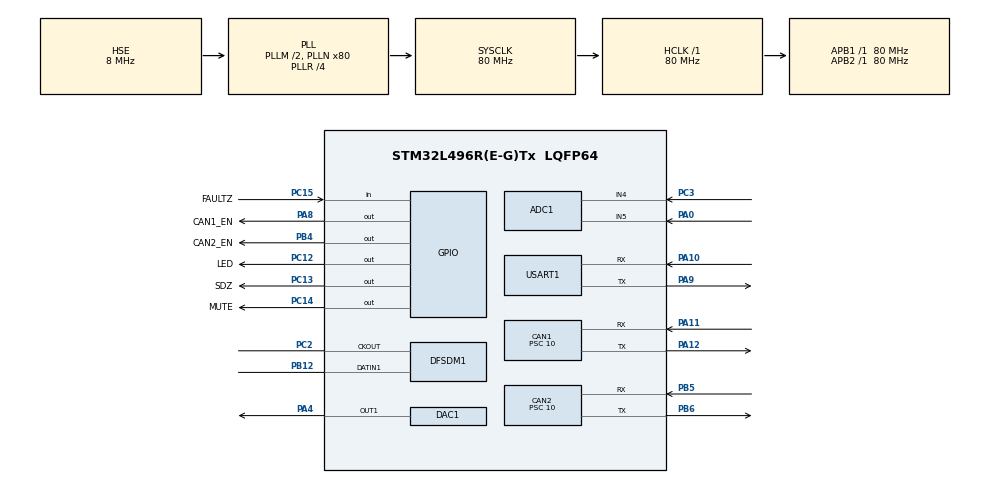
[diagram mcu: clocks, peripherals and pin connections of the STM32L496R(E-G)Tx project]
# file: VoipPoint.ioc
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ADC1.Channel-0\#ChannelRegularConversion=ADC_CHANNEL_4
ADC1.Channel-1\#ChannelRegularConversion=ADC_CHANNEL_5
ADC1.ContinuousConvMode=ENABLE
ADC1.DMAContinuousRequests=ENABLE
ADC1.ExternalTrigConv=ADC_SOFTWARE_START
ADC1.NbrOfConversion=2
ADC1.NbrOfConversionFlag=1
ADC1.OffsetNumber-0\#ChannelRegularConversion=ADC_OFFSET_NONE
ADC1.OffsetNumber-1\#ChannelRegularConversion=ADC_OFFSET_NONE
ADC1.Rank-0\#ChannelRegularConversion=1
ADC1.Rank-1\#ChannelRegularConversion=2
ADC1.SamplingTime-0\#ChannelRegularConversion=ADC_SAMPLETIME_47CYCLES_5
ADC1.SamplingTime-1\#ChannelRegularConversion=ADC_SAMPLETIME_47CYCLES_5
ADC1.master=1
CAN1.BS1=CAN_BS1_13TQ
CAN1.BS2=CAN_BS2_2TQ
CAN1.CalculateTimeQuantum=125.0
CAN1.Prescaler=10
CAN1.TXFP=ENABLE
CAN2.BS1=CAN_BS1_13TQ
CAN2.BS2=CAN_BS2_2TQ
CAN2.CalculateTimeQuantum=125.0
CAN2.Prescaler=10
CAN2.TXFP=ENABLE
DAC1.DAC_Trigger-DAC_OUT1=DAC_TRIGGER_T6_TRGO
DFSDM1.Divider=12
DFSDM1.DmaMode_reg_FIL0=ENABLE
DFSDM1.FastMode_reg_FIL0=ENABLE
DFSDM1.FilterOrder_CH0=DFSDM_CHANNEL_SINC3_ORDER
DFSDM1.Filter_regChannel_FIL0=DFSDM_CHANNEL_0
DFSDM1.Fosr_FIL0=64
DFSDM1.Iosr_FIL0=4
DFSDM1.RightBitShift_CH0=0x02
DFSDM1.Selection=DFSDM_CHANNEL_OUTPUT_CLOCK_AUDIO
DFSDM1.SincOrder_FIL0=DFSDM_FILTER_SINC3_ORDER
Dma.ADC1.3.Direction=DMA_PERIPH_TO_MEMORY
Dma.ADC1.3.Instance=DMA1_Channel1
Dma.ADC1.3.MemDataAlignment=DMA_MDATAALIGN_HALFWORD
Dma.ADC1.3.MemInc=DMA_MINC_ENABLE
Dma.ADC1.3.Mode=DMA_CIRCULAR
Dma.ADC1.3.PeriphDataAlignment=DMA_PDATAALIGN_HALFWORD
Dma.ADC1.3.PeriphInc=DMA_PINC_DISABLE
Dma.ADC1.3.Priority=DMA_PRIORITY_LOW
Dma.DAC_CH1.0.Direction=DMA_MEMORY_TO_PERIPH
Dma.DAC_CH1.0.Instance=DMA1_Channel3
Dma.DAC_CH1.0.MemDataAlignment=DMA_MDATAALIGN_HALFWORD
Dma.DAC_CH1.0.MemInc=DMA_MINC_ENABLE
Dma.DAC_CH1.0.Mode=DMA_CIRCULAR
Dma.DAC_CH1.0.PeriphDataAlignment=DMA_PDATAALIGN_HALFWORD
Dma.DAC_CH1.0.PeriphInc=DMA_PINC_DISABLE
Dma.DAC_CH1.0.Priority=DMA_PRIORITY_HIGH
Dma.DFSDM1_FLT0.1.Direction=DMA_PERIPH_TO_MEMORY
Dma.DFSDM1_FLT0.1.Instance=DMA1_Channel4
Dma.DFSDM1_FLT0.1.MemDataAlignment=DMA_MDATAALIGN_WORD
Dma.DFSDM1_FLT0.1.MemInc=DMA_MINC_ENABLE
Dma.DFSDM1_FLT0.1.Mode=DMA_CIRCULAR
Dma.DFSDM1_FLT0.1.PeriphDataAlignment=DMA_PDATAALIGN_WORD
Dma.DFSDM1_FLT0.1.PeriphInc=DMA_PINC_DISABLE
Dma.DFSDM1_FLT0.1.Priority=DMA_PRIORITY_HIGH
Dma.Request0=DAC_CH1
Dma.Request1=DFSDM1_FLT0
Dma.Request2=USART1_TX
Dma.Request3=ADC1
Dma.USART1_TX.2.Direction=DMA_MEMORY_TO_PERIPH
Dma.USART1_TX.2.Instance=DMA2_Channel6
Dma.USART1_TX.2.MemDataAlignment=DMA_MDATAALIGN_BYTE
Dma.USART1_TX.2.MemInc=DMA_MINC_ENABLE
Dma.USART1_TX.2.Mode=DMA_NORMAL
Dma.USART1_TX.2.PeriphDataAlignment=DMA_PDATAALIGN_BYTE
Dma.USART1_TX.2.PeriphInc=DMA_PINC_DISABLE
Dma.USART1_TX.2.Priority=DMA_PRIORITY_LOW
Mcu.Family=STM32L4
Mcu.Name=STM32L496R(E-G)Tx
Mcu.Package=LQFP64
NVIC.CAN1_RX0_IRQn=true\:0\:0\:false\:false\:true\:true\:true
NVIC.CAN2_RX0_IRQn=true\:0\:0\:false\:false\:true\:true\:true
NVIC.DMA1_Channel1_IRQn=true\:0\:0\:false\:false\:true\:false\:true
NVIC.DMA1_Channel3_IRQn=true\:0\:0\:false\:false\:true\:false\:true
NVIC.DMA1_Channel4_IRQn=true\:0\:0\:false\:false\:true\:false\:true
NVIC.DMA2_Channel6_IRQn=true\:0\:0\:false\:false\:true\:false\:true
NVIC.PriorityGroup=NVIC_PRIORITYGROUP_4
NVIC.TIM6_DAC_IRQn=true\:0\:0\:false\:false\:true\:true\:true
NVIC.USART1_IRQn=true\:0\:0\:false\:false\:true\:true\:true
PA0.Signal=ADCx_IN5
PA10.Mode=Asynchronous
PA10.Signal=USART1_RX
PA11.Mode=Master
PA11.Signal=CAN1_RX
PA12.Mode=Master
PA12.Signal=CAN1_TX
PA4.Signal=COMP_DAC11_group
PA8.GPIO_Label=CAN1_EN
PA8.Signal=GPIO_Output
PA9.Mode=Asynchronous
PA9.Signal=USART1_TX
PB12.GPIO_Speed=GPIO_SPEED_FREQ_VERY_HIGH
PB12.Signal=S_DATAIN1DFSDM1
PB4\ (NJTRST).GPIO_Label=CAN2_EN
PB4\ (NJTRST).Signal=GPIO_Output
PB5.Mode=Slave
PB5.Signal=CAN2_RX
PB6.Mode=Slave
PB6.Signal=CAN2_TX
PC12.GPIO_Label=LED
PC12.Signal=GPIO_Output
PC13.GPIO_Label=SDZ
PC13.PinState=GPIO_PIN_SET
PC13.Signal=GPIO_Output
PC14-OSC32_IN\ (PC14).GPIO_Label=MUTE
PC14-OSC32_IN\ (PC14).Signal=GPIO_Output
PC15-OSC32_OUT\ (PC15).GPIO_Label=FAULTZ
PC15-OSC32_OUT\ (PC15).Signal=GPIO_Input
PC2.GPIO_Speed=GPIO_SPEED_FREQ_VERY_HIGH
PC2.Signal=S_CKOUTDFSDM1
PC3.Signal=ADCx_IN4
PH0-OSC_IN\ (PH0).Mode=HSE-External-Oscillator
PH0-OSC_IN\ (PH0).Signal=RCC_OSC_IN
PH1-OSC_OUT\ (PH1).Mode=HSE-External-Oscillator
PH1-OSC_OUT\ (PH1).Signal=RCC_OSC_OUT
ProjectManager.HeapSize=0x12000
ProjectManager.StackSize=0x4000
ProjectManager.TargetToolchain=TrueSTUDIO
RCC.ADCFreq_Value=21500000
RCC.AHBFreq_Value=80000000
RCC.APB1Freq_Value=80000000
RCC.APB1TimFreq_Value=80000000
RCC.APB2Freq_Value=80000000
RCC.APB2TimFreq_Value=80000000
RCC.CK48CLockSelection=RCC_USBCLKSOURCE_MSI
RCC.CortexFreq_Value=80000000
RCC.HCLKFreq_Value=80000000
RCC.HSE_VALUE=8000000
RCC.HSI48_VALUE=48000000
RCC.HSI_VALUE=16000000
RCC.LSE_VALUE=32768
RCC.MSI_VALUE=4000000
RCC.PLLM=2
RCC.PLLN=80
RCC.PLLP=RCC_PLLP_DIV7
RCC.PLLR=RCC_PLLR_DIV4
RCC.PLLSAI1N=43
RCC.PLLSAI1P=RCC_PLLP_DIV7
RCC.PLLSAI1R=RCC_PLLR_DIV8
RCC.PLLSourceVirtual=RCC_PLLSOURCE_HSE
RCC.SYSCLKFreq_VALUE=80000000
RCC.SYSCLKSource=RCC_SYSCLKSOURCE_PLLCLK
RCC.USBFreq_Value=4000000
RCC.VCOOutputFreq_Value=320000000
SH.ADCx_IN4.0=ADC1_IN4,IN4-Single-Ended
SH.ADCx_IN5.0=ADC1_IN5,IN5-Single-Ended
SH.COMP_DAC11_group.0=DAC1_OUT1,DAC_OUT1
SH.S_CKOUTDFSDM1.0=DFSDM1_CKOUT,PDM_SPI_Input_from_ch01_and_Internal_Clock
SH.S_DATAIN1DFSDM1.0=DFSDM1_DATIN1,PDM_SPI_Input_from_ch01_and_Internal_Clock
TIM6.Period=10000
TIM6.TIM_MasterOutputTrigger=TIM_TRGO_UPDATE
USART1.VirtualMode-Asynchronous=VM_ASYNC
VP_IWDG_VS_IWDG.Mode=IWDG_Activate
VP_RNG_VS_RNG.Mode=RNG_Activate
VP_TIM6_VS_ClockSourceINT.Mode=Enable_Timer
board=custom

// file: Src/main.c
/* USER CODE BEGIN Header */
/**
  ******************************************************************************
  * @file           : main.c
  * @brief          : Main program body
  ******************************************************************************
  * @attention
  *
  * <h2><center>&copy; Copyright (c) 2019 STMicroelectronics.
  * All rights reserved.</center></h2>
  *
  * This software component is licensed by ST under BSD 3-Clause license,
  * the "License"; You may not use this file except in compliance with the
  * License. You may obtain a copy of the License at:
  *                        opensource.org/licenses/BSD-3-Clause
  *
  ******************************************************************************
  */
/* USER CODE END Header */

#include "main.h"
#include "adc.h"
#include "can.h"
#include "dac.h"
#include "dfsdm.h"
#include "dma.h"
#include "iwdg.h"
#include "rng.h"
#include "tim.h"
#include "usart.h"
#include "gpio.h"

/* USER CODE BEGIN Includes */

//#include "arm_math.h"
#include "wave_example.h"
#include "frame_stack.h"
#include "opus.h"
#include "can_tx_stack.h"
#include "uart.h"
#include <stdlib.h>
#include <arm_math.h>
#include "can_cmd.h"
#include "eeprom.h"
#include "eeprom2.h"
#include "flash_interface.h"
#include "din.h"

/* USER CODE END Includes */

/* USER CODE BEGIN PD */

#define	FRAME_SIZE	160		// размер одного пакета аудиоданных (в байтах будет 160*2)

// макрос ограничения величины снизу и сверху
#define SaturaLH(N, L, H) (((N)<(L))?(L):(((N)>(H))?(H):(N)))

#define FFT_SIZE 128// число точек для быстрого преобразования Фурье (должно быть степенью двойки)
// необходимо для анализа спектра сигнала, полученного с микрофона
// частота звукового сигнала 8 кГц, шаг в полученном спектре 8000/128 = 62.5 Гц
// arm_rfft_fast_init_f32 - инициализация
// arm_rfft_fast_f32 - собственно преобразование
// arm_cmplx_mag_f32 - вычисление амплитуд сигнала

/* USER CODE END PD */

/* USER CODE BEGIN PV */

// переменные для стирания страницы FLASH амяти
static FLASH_EraseInitTypeDef EraseInitStruct;
uint32_t PAGEError = 0;

// промежуточный буфер для получения данных из аудиостека
// в дальнейшем данные изменяются в соответствии с коэффициентом ослабления звука
static volatile int16_t tmp_frame[2][1024] __attribute__((aligned(4)));

// буфер данных, полученных от микрофона
volatile int32_t		RecBuf[2][FRAME_SIZE] __attribute__((aligned(4)));

// буфер данных, отправляемых на динамик
volatile uint16_t 	conv[2][FRAME_SIZE] __attribute__((aligned(4)));

// флаги приёма данных от микрофона по DMA
volatile uint32_t	DmaMicrophoneHalfBuffCplt  = 0;
volatile uint32_t    DmaMicrophoneBuffCplt      = 0;

// флаги отправки данных в DAC по DMA
volatile uint32_t	DmaDacHalfBuffCplt  = 0;
volatile uint32_t    DmaDacBuffCplt      = 0;

extern CAN_HandleTypeDef hcan1;

// переменные для работу с опусом
OpusDecoder *dec;
OpusEncoder *enc;
static int error = 0;

// буфер в который записывается результат кодирования звука опусом
char microphone_encoded_data[2][256] __attribute__((aligned(4)));

// результирующая длина закодированного массива
int8_t encoded_length = 0;

// буфер в который помещается результат декодирования пакетов опусом
int16_t	audio_stream[1024] __attribute__((aligned(4)));

#define OPUS_PACKET_MAX_LENGTH	100

// переменные для работы с кан интерфейсом
static CAN_TxHeaderTypeDef   TxHeader;
static uint32_t              TxMailbox1=0;
static uint32_t              TxMailbox2=0;
static uint8_t               TxData[8] __attribute__((aligned(4)));
static CAN_RxHeaderTypeDef   RxHeader;
static uint8_t               RxData[8] __attribute__((aligned(4)));

// буфера для сборки закодированного аудиопакета из кан пакетов
static uint8_t				 can_frame[OPUS_PACKET_MAX_LENGTH] __attribute__((aligned(4)));
static uint8_t 				 can_priority_frame[OPUS_PACKET_MAX_LENGTH] __attribute__((aligned(4)));

// заголовок текущего звукового закодированного кан пакета, захваченного для воспроизведения
static uint32_t				 can_caught_id = 0;

// номер группы/шлюза к которой принадлежит точка
uint8_t group_id = 0;

// таймер активности звукового выхода (сбрасывется при наличии пакетов которые необходимо воспроизвести)
// инкрементируется по прерыванию каждую миллисекунду
uint16_t packet_tmr = 0;

// длина собранного звукового кан пакета
// перенести в check_can_rx
uint8_t can_pckt_length = 0;

// флаг получения данных от микрофона
// 1 - получена первая половина буфера
// 2 - получена вторая половина буфера
unsigned char encoded_micr_ready_buf_num = 0;

// счётчик для отправки в динамик сигнала синуса из буфера sin_ex
// спользуется для проверки исправности системы динамик/микрофон
uint32_t sin_offset = 0;

// счётчик для отправки кодирования опусом и отправки в кан сеть сигнала вызова из буфера call_ex
uint32_t call_offset = 0;

// счётчик для отправки в динамик сигнала вызова из буфера call_ex
uint32_t call_offset2 = 0;

// стеки кан пакетов для отправки
tx_stack can1_tx_stack;
tx_stack can2_tx_stack;

// стеки кан пакетов для отправки с повышенным приоритетом
tx_stack can1_tx_stack_pr;
tx_stack can2_tx_stack_pr;

// кнопка для передачи звука в кан сеть
uint8_t button1 = 0;

// кнопка для отправки сигнала вызова в кан сеть
uint8_t button2 = 0;

// cостояние концевика (указывает что точка последняя в цепочке)
uint8_t limit_switch = 0;

// флаг внешнего вызова
uint8_t call_flag = 0;
uint16_t call_tmr = 0;

// группа переменных для проверки исправности микрофона и динамиков с помощью преобразования фурье

float32_t in_fft[FFT_SIZE] = {0};	// входные данные для преобразования
float32_t out_fft[FFT_SIZE] = {0};	// результат преобразования
arm_rfft_fast_instance_f32 S;

float32_t base_2_5_kHz_level;		// уровень фонового сигнала микрофона на 2.5 кГц
float32_t test_2_5_kHz_level;		// уровень сигнала микрофона на 2.5 кГц во время проверки динамиков

///////////////////////////////////////////////////////////////////////////////////////////////////
// ПРОВЕРКА СВЯЗКИ МИКРОФОН-ДИНАМИК

// вспомогательный таймер
volatile uint16_t test_2_5_kHz_tmr = 0;

// результат проверки
// 1 - система исправна
// 0 - неисправна
uint8_t test_2_5_kHz_res = 0;

// состояние проверки связки микрофон/динамик
// 0 - не выполняется
// 1 - определение фонового уровня шума на 2.5 кГц и после этого подача синуса 2.5 кГц на динамик
// 2 - ожидание 1 секунды и после этого определение уровня шума на 2.5 кГц, отключение синуса
// 3 - ожидание ещё одной секунды и после этого завершение теста
uint8_t test_2_5_kHz_state = 0;

uint8_t test_2_5_kHz_check_enable = 0;	// разрешение проверки ()возможно избыточное
uint8_t check_cmd = 0;	// запрос на проверку от шлюза

///////////////////////////////////////////////////////////////////////////////////////////////////

uint8_t pos_in_group = 1;			// номер точки в цепочке шлюза
extern uint8_t search_next_try;		// номер попытки поиска следующей точки

uint16_t discrete_state = 0;	// битовое состояние точки
// младший байт:
// бит 0 - результат проверки микрофона/динамиков
// бит 1  - была ли проверка
// бит 2 - состояние концевика
//старший байт:
// бит 0 - вход 1 замкнут
// бит 1 - вход 1 обрыв
// бит 2 - вход 1 кз
// бит 3 - вход 2 замкнут
// бит 4 - вход 2 обрыв
// бит 5 - вход 2 кз
// бит 6 - выход 1
// бит 7 - выход 2

// авария точки (если вход 1 разомкнут или по нему есть обрыв или кз)
uint8_t alarm_flag = 0;

// флаг и таймер для отправления данных компьютеру а не всем точкам при вызове от компьютера
uint8_t point_flag = 0;
uint16_t point_tmr = 0;

// переменные для ацп (напряжение аккумулятора и питания)
uint16_t adc_data[2] = {0,0};	// непосредственно данные
uint32_t sum_adc[2] ={0,0};		// массив для усреднения
uint16_t adc_filter_tmr = 0;	// счётчик накопленных данных
uint16_t adc_tmr=0;				// таймер суммирования данных фильтром

// данные пересчитанные в десятые доли вольт
uint8_t prev_pow_data[2] = {0,0};	// для анализа изменения данных
uint8_t pow_data[2] = {0,0};	// напряжение аккумулятора и питания 1 ед - 0.1В

uint8_t gain = 0; // коэффициент ослабления громкости
// 0 - максимальная громкость
// 1 - ослабление в 2 раза
// 2 - в 4 раза
// 3 - в 8 раз

// вспомогательный счётчик для управления вспышками светодиода
uint16_t led_cnt = 0;

extern struct dinput di1,di2;

/* USER CODE END PV */

void SystemClock_Config(void);

/* USER CODE BEGIN 0 */

// проверка необходимо ли воспроизводить пришедший аудиопакет
// packet_id - CAN идентификатор пакета

uint8_t static check_id_priority(uint32_t packet_id) {
	id_field *input_id = (id_field*)(&packet_id);
	id_field *cur_id = (id_field*)(&can_caught_id);
	if(input_id->type==POINT_TO_PC) return 0; // точка компьютер игнорируем
	// входящий пакет - информация об авариях или их снятии (самый высокий приоритет)
	if(input_id->type==AUDIO_INFO) {
		if(cur_id->type!=AUDIO_INFO || ((cur_id->type==AUDIO_INFO) && (cur_id->group_addr==input_id->group_addr))) {
			*cur_id = *input_id;
			point_flag = 0;
			return 1;
		}
	}

	// если прошлый захваченный пакет был информационным (с оповещением) остальные пакеты игнорируются
	// пока по таймеру не сбросится cur_id или не придёт новый информационный пакет
	if(cur_id->type==AUDIO_INFO) return 0;

	if(input_id->type==PC_TO_ALL) { // компьютер ко всем (второй по приоритету тип аудиопакета)
		*cur_id = *input_id;
		point_flag = 0;
		return 1;
	}
	if(input_id->type==PC_TO_POINT) { // компьютер точка
		if((input_id->group_addr == group_id) && (input_id->point_addr == pos_in_group)) { //совпадает адрес группы и адрес точки
			*cur_id = *input_id;
			point_tmr = 0;
			point_flag = 1; // ответные пакеты должны идти компьютеру а не всем точкам сети
			return 1;
		}
		return 0;
	}
	if(input_id->type==PC_TO_GROUP) { // компьютер группа
		if(input_id->group_addr == group_id) { //совпадает адрес группы
			*cur_id = *input_id;
			point_flag = 0;
			return 1;
		}
		return 0;
	}
	if(input_id->type==POINT_TO_ALL || input_id->type==POINT_CALL) { // точка все или сигнал вызова с другой точки
		if(cur_id->type==UNKNOWN_TYPE) {	// пакеты не захвачены
			*cur_id = *input_id;
			point_flag = 0;
			return 1;
		}
		// если последний последний активный пакет не от компьютера
		if(cur_id->type!=PC_TO_ALL && cur_id->type!=PC_TO_GROUP && cur_id->type!=PC_TO_POINT)  {
			// ранее захваченный источник
			if(cur_id->group_addr == input_id->group_addr && cur_id->point_addr == input_id->point_addr) {
				*cur_id = *input_id;
				point_flag = 0;
				return 1;
			}
			// активный пакет не из родной группы, новый запрос из родной группы, перехватить
			if(cur_id->group_addr != group_id && input_id->group_addr == group_id) {
				*cur_id = *input_id;
				point_flag = 0;
				return 1;
			}
		}
		return 0;
	}
	return 0;
}

// обработка входящих кан пакетов (can_num (1-входящий, 2-исходящий))
static void check_can_rx(uint8_t can_num) {
	CAN_HandleTypeDef *hcan;
	uint8_t i = 0;
	uint8_t j = 0;
	uint8_t cur_num = 0;
	uint8_t cnt = 0;
	tx_stack_data packet;
	id_field *p_id;
	if(can_num==1) hcan = &hcan1; else hcan = &hcan2;
	if(HAL_CAN_GetRxFifoFillLevel(hcan, CAN_RX_FIFO0)) {
		if(HAL_CAN_GetRxMessage(hcan, CAN_RX_FIFO0, &RxHeader, RxData) == HAL_OK) {
			p_id = (id_field*)(&(RxHeader.ExtId));
			if(p_id->cmd==AUDIO_PACKET) { // аудиопоток
				// если точка не передаёт звук или сигнал вызова и входящий пакет прошёл проверку
				if(button1==0 && button2==0 && check_id_priority(RxHeader.ExtId)) {
					packet_tmr = 0;	// таймер обнаружения входящего аудиопакета для воспроизведения
					// сигнал вызова от другой точки
					if(p_id->type==POINT_CALL) {
						call_flag = 1;
						call_tmr=0;
					}else {
						// звук формата 160 двухбайтных переменных кодируется опусом
						// результат запаковывается в несколько кан пакетов
						// в каждом аудиопакете передаётся текущий номер пакета и общее число пакетов
						cur_num = p_id->param & 0x0F;		// текущий номер пакета
						cnt = (p_id->param & 0xFF)>> 4;		// число пакетов
						if(cur_num) {
							if(cur_num==cnt) {	// последний пакет
								// проверка типа пакета (возможно избыточная т.к. аналогичная выполняется в check_id_priority)
							  if(p_id->type==POINT_TO_ALL || p_id->type==PC_TO_ALL || p_id->type==PC_TO_POINT || p_id->type==PC_TO_GROUP || p_id->type==AUDIO_INFO) { // точка все
								  j = (cur_num-1)*8;	// смещение в буфере
								  // последний пакет может быть длиной от 1 до 8 байт (RxHeader.DLC)
								  for(i=0;i<RxHeader.DLC;i++) {
									  if(j+i<OPUS_PACKET_MAX_LENGTH) can_priority_frame[j+i]=RxData[i];
								  }
								  // итоговая длина пакета
								  can_pckt_length = (cnt-1)*8+RxHeader.DLC;
								  // проверка на ограничение длины под выделенные буфера
								  if(can_pckt_length>OPUS_PACKET_MAX_LENGTH) can_pckt_length = OPUS_PACKET_MAX_LENGTH;
								  for(i=0;i<can_pckt_length;i++) {
									  can_frame[i]=can_priority_frame[i];
								  }
								  // добавление пакета в стек закодированных опусом аудиопакетов для воспроизведения
								  add_can_frame(&can_frame[0],can_pckt_length);
							  }
							}else {
								// пакет копируется в промежуточный буфер
								// смещение в зависимости от номера пакета
								// если пакет не последний то длина данных 8 байт
								j = (cur_num-1)*8;
								for(i=0;i<8;i++) { if(j+i<OPUS_PACKET_MAX_LENGTH) can_priority_frame[j+i]=RxData[i]; }
							}
						}
					}
				}
			}else if(p_id->cmd==LAST_POINT) {	// в цепи после текущей точки обнаружена последняя точка
				if(p_id->group_addr == group_id) {
					// если группа совпадает и обнаружена последняя в цепи точка значит что после текущей точки есть как минимум ещё одна
					// поэтому выставляется признак обнаружения следующей в цепи точки
					search_next_try = 0;
				}
			}else if(p_id->cmd==FIND_NEXT_POINT) {
				if(p_id->param==FIND_REQUEST) {
					// запрос от предыдущей точки
					// установка адреса точки на единицу больше чем у предшественника
					pos_in_group = RxData[0] + 1;
					// отправить ответ
					next_point(FIND_ANSWER);
				}else if(p_id->param==FIND_ANSWER) {
					// ответ от следующей в цепочке точки
					search_next_try = 0;
				}
			}else if(p_id->cmd==SCAN_GROUP) {
				// если запрос по входящему CAN порту
				if(can_num==1) {
					check_cmd = 1;	// запустить проверку микрофона и динамиков точки
				}
			}else if(p_id->cmd==SET_ALL_OUTS) {	// установить выход
				if(p_id->group_addr == group_id) {
					// RxData[0] - номер выхода
					// RxData[1] - требуемое состояние выхода
					if(RxData[0]==1) {
						if(RxData[1]) discrete_state |= 0x4000;else discrete_state &= ~(0x4000);
					}else if(RxData[0]==2) {
						if(RxData[1]) discrete_state |= 0x8000;else discrete_state &= ~(0x8000);
					}
				}
			}else if(p_id->cmd==GET_POINTS_STATE) {
				// запрос шлюзом состояния точек
				if(can_num==1)
				{
					group_id = p_id ->group_addr;
					send_point_state(1);
				}
			}else if(p_id->cmd==GATE_STATE) {
				if(can_num==1)
				{
					group_id = p_id ->group_addr;
					// в состоянии шлюза передаются требуемые в точках состояния выходов
					if(RxData[1]&(1<<3)) {discrete_state |= 0x4000;}else{discrete_state &= ~(0x4000);}
					if(RxData[1]&(1<<4)) {discrete_state |= 0x8000;}else{discrete_state &= ~(0x8000);}
				}
			}else if(p_id->point_addr == pos_in_group && p_id->group_addr == group_id && p_id->cmd==BOOT) {
				// команда переключения точки в режим загрузчика
				if(p_id->type==BOOT_SWITCH) {
					HAL_FLASH_Unlock();
					EraseInitStruct.TypeErase   = FLASH_TYPEERASE_PAGES;
					EraseInitStruct.Banks       = GetBank((uint32_t)0x08080000);
					EraseInitStruct.Page        = GetPage((uint32_t)0x08080000);
					EraseInitStruct.NbPages     = 1;
					HAL_FLASHEx_Erase(&EraseInitStruct, &PAGEError);
					HAL_NVIC_SystemReset();
				}
			}
			else if(p_id->point_addr == pos_in_group && p_id->group_addr == group_id && p_id->cmd==POINT_CONFIG) {
				// команда записи в точку конфигурации
				// RxData[0] - код команды
				HAL_FLASH_Unlock();
				if(RxData[0]==0x01) {
					// громкость точки
					if(RxData[1]>4) RxData[1]=0;
					gain = RxData[1];
					uint8_t res = 0;
					uint64_t v2 = read_var2(&res);
					if(res==0) v2=0;
					v2&=0xFFFFFFF8;// младшие 3 бита
					v2|=RxData[1];
					write_var2(v2);
					// отправить состояние точки шлюзу для подтверждения
					send_point_state(1);
					send_point_state(1);
				}else if(RxData[0]==0x02) {
					// фильтр входов
					di1.tmr_limit = RxData[1] & 0x0F;
					if(di1.tmr_limit>10) di1.tmr_limit=10;
					di2.tmr_limit = RxData[1] >> 4;
					if(di2.tmr_limit>10) di2.tmr_limit=10;
					di1.en_flag = RxData[2] & 0x01;
					di2.en_flag = RxData[2] & 0x02;
					uint8_t res = 0;
					uint64_t v2 = read_var2(&res);
					if(res==0) v2=0;
					v2&=0xFFFFE007; // 10 бит после громкости
					v2|=(((uint16_t)di1.tmr_limit)&0x0F)<<3;
					v2|=(((uint16_t)di2.tmr_limit)&0x0F)<<7;
					if(di1.en_flag) v2|=0x0001<<11;
					if(di2.en_flag) v2|=0x0001<<12;
					write_var2(v2);
					send_point_state(1);
					send_point_state(1);
				}

			}
			// фильтр для недопуска сквозного прохождения пакетов от точек в своей группе
			if(p_id->group_addr == group_id) {
				if(p_id->cmd==FIND_NEXT_POINT) return;
				// не пропускать пакеты LAST_POINT  выходного кана если текущая точка установлена как концевая
				if(limit_switch && p_id->cmd==LAST_POINT && can_num==2) return;
			}
			// ретрансляция пакетов (сквозное прохождение)
			// если пакет не адресован этой точке он проходит сквозь точку
			// пакеты с кан1 транслируются в кан2 и наоборот
			if(!(p_id->point_addr == pos_in_group && p_id->group_addr == group_id)) {
				packet.id = RxHeader.ExtId;
				// для звуковых пакетов более низкий приоритет
				// приоритет важен при большом числе пакетов в очереди на передачу
				// первыми идут пакеты с более высоким приоритетом
				// для каждого приоритета есть свой стек пакетов
				if(p_id->cmd==AUDIO_PACKET) {packet.priority = LOW_PACKET_PRIORITY;}
				else packet.priority = HIGH_PACKET_PRIORITY;
				packet.length = RxHeader.DLC;
				if(packet.length>CAN_TX_DATA_SIZE) packet.length = CAN_TX_DATA_SIZE;
				for(i=0;i<packet.length;++i) packet.data[i] = RxData[i];
				if(can_num==1)	{
					if(packet.priority == LOW_PACKET_PRIORITY) add_tx_can_packet(&can2_tx_stack,&packet);
					else add_tx_can_packet(&can2_tx_stack_pr,&packet);
				}
				else {
					if(packet.priority == LOW_PACKET_PRIORITY) add_tx_can_packet(&can1_tx_stack,&packet);
					else add_tx_can_packet(&can1_tx_stack_pr,&packet);
				}
			}
		}

	}
}

// отправка в сеть пакетов из tx буферов с двумя приоритетами
void can_write_from_stack() {
	tx_stack_data packet;
	uint8_t i = 0;
	uint8_t try = 0;	// счётчик попыток извлечения пакетов из стека
	// проверка доступности аппаратного кан1 для передачи
	while(HAL_CAN_GetTxMailboxesFreeLevel(&hcan1)!=0) {
		try++;
		if(try>=10) return;
		// высокоприоритетный стек
		if(get_tx_can_packet(&can1_tx_stack_pr,&packet)) {
			if(packet.length>8) continue;
			TxHeader.StdId = 0;
			TxHeader.ExtId = packet.id;
			TxHeader.RTR = CAN_RTR_DATA;
			TxHeader.IDE = CAN_ID_EXT;
			TxHeader.TransmitGlobalTime = DISABLE;
			TxHeader.DLC = packet.length;
			for(i=0;i<packet.length;++i) TxData[i] = packet.data[i];
			HAL_CAN_AddTxMessage(&hcan1, &TxHeader, TxData, &TxMailbox1);
			// вернуться к началу цикла для проверки есть ли возможность отправить ещё один высокоприоритетный пакет
			continue;
		}
		// если высокоприоритетных пакетов не осталось выполняется проверка стека низкоприоритетных пакетов (звука)
		if(get_tx_can_packet(&can1_tx_stack,&packet)) {
			if(packet.length>8) continue;
			TxHeader.StdId = 0;
			TxHeader.ExtId = packet.id;
			TxHeader.RTR = CAN_RTR_DATA;
			TxHeader.IDE = CAN_ID_EXT;
			TxHeader.TransmitGlobalTime = DISABLE;
			TxHeader.DLC = packet.length;
			for(i=0;i<packet.length;++i) TxData[i] = packet.data[i];
			HAL_CAN_AddTxMessage(&hcan1, &TxHeader, TxData, &TxMailbox1);
		}else break; // пакетов нет выход из цикла
	}

	// такой же алгоритм для кан2
	try=0;
	while(HAL_CAN_GetTxMailboxesFreeLevel(&hcan2)!=0) {
		try++;
		if(try>=10) return;
		if(get_tx_can_packet(&can2_tx_stack_pr,&packet)) {
			if(packet.length>8) continue;
			TxHeader.IDE = CAN_ID_EXT;
			TxHeader.StdId = 0;
			TxHeader.ExtId = packet.id;
			TxHeader.RTR = CAN_RTR_DATA;
			TxHeader.IDE = CAN_ID_EXT;
			TxHeader.TransmitGlobalTime = DISABLE;
			TxHeader.DLC = packet.length;
			for(i=0;i<packet.length;++i) TxData[i] = packet.data[i];
			HAL_CAN_AddTxMessage(&hcan2, &TxHeader, TxData, &TxMailbox2);
			continue;
		}
		if(get_tx_can_packet(&can2_tx_stack,&packet)) {
			if(packet.length>8) continue;
			TxHeader.IDE = CAN_ID_EXT;
			TxHeader.StdId = 0;
			TxHeader.ExtId = packet.id;
			TxHeader.RTR = CAN_RTR_DATA;
			TxHeader.IDE = CAN_ID_EXT;
			TxHeader.TransmitGlobalTime = DISABLE;
			TxHeader.DLC = packet.length;
			for(i=0;i<packet.length;++i) TxData[i] = packet.data[i];
			HAL_CAN_AddTxMessage(&hcan2, &TxHeader, TxData, &TxMailbox2);
		}else break;
	}
}

static void initCANFilter() {
	CAN_FilterTypeDef  sFilterConfig;

	sFilterConfig.FilterBank = 0;
	sFilterConfig.FilterMode = CAN_FILTERMODE_IDMASK;
	sFilterConfig.FilterScale = CAN_FILTERSCALE_32BIT;
	sFilterConfig.FilterIdHigh = 0x0000;
	sFilterConfig.FilterIdLow = 0x0000;
	sFilterConfig.FilterMaskIdHigh = 0x0000;
	sFilterConfig.FilterMaskIdLow = 0x0000;
	sFilterConfig.FilterFIFOAssignment = CAN_RX_FIFO0;
	sFilterConfig.FilterActivation = ENABLE;
	sFilterConfig.SlaveStartFilterBank = 14;

	HAL_CAN_ConfigFilter(&hcan1, &sFilterConfig);

	sFilterConfig.FilterBank = 14;
	sFilterConfig.FilterMode = CAN_FILTERMODE_IDMASK;
	sFilterConfig.FilterScale = CAN_FILTERSCALE_32BIT;
	sFilterConfig.FilterIdHigh = 0x0000;
	sFilterConfig.FilterIdLow = 0x0000;
	sFilterConfig.FilterMaskIdHigh = 0x0000;
	sFilterConfig.FilterMaskIdLow = 0x0000;
	sFilterConfig.FilterFIFOAssignment = CAN_RX_FIFO0;
	sFilterConfig.FilterActivation = ENABLE;
	sFilterConfig.SlaveStartFilterBank = 14;
	HAL_CAN_ConfigFilter(&hcan2, &sFilterConfig);
}

// разбивка закодированного опусом буфера на кан пакеты
// len - исходная длина пакета
// ptr - указатель на входной буфер
static void send_full_frame(uint8_t len, uint8_t *ptr) {
	uint8_t i=len;	// вспомогательная переменная
	uint8_t cur_pckt = 1;	// номер текущего пакета
	uint8_t pckt_cnt = 0;	// число необходимых пакетов
	tx_stack_data packet;
	id_field *p_id = (id_field*)(&packet.id);
	if(len==0) return;

	// вычисление числа требуемых кан пакетов
	while(i) {
		pckt_cnt++;
		if(i<=8) {i=0;break;}
		i-=8;
	}

	i=1;
	while(cur_pckt<=pckt_cnt) {
		// если нажата кнопка вызова значит в пакете закодирован сигнал вызова
		if(button2) p_id->type = POINT_CALL;
		else {
			// point_flag определяет необходимо отправить звук всем точкам в сети или только компьютеру
			if(point_flag==0) p_id->type = POINT_TO_ALL;
			else p_id->type = POINT_TO_PC;
		}

		p_id->point_addr = pos_in_group;
		p_id->group_addr = group_id;
		p_id->cmd = AUDIO_PACKET;
		p_id->param = (cur_pckt&0x0F)|((pckt_cnt&0x0F)<<4);
		packet.priority = LOW_PACKET_PRIORITY;
		if(cur_pckt==pckt_cnt) { // последний пакет
			// длина данных от 1 до 8 байт
			packet.length = len;
			for(i=0;i<len;i++) packet.data[i] = ptr[(cur_pckt-1)*8+i];
			// пакеты транслируются в оба кан1 и кан2
			add_tx_can_packet(&can1_tx_stack,&packet);
			add_tx_can_packet(&can2_tx_stack,&packet);
			cur_pckt++;
			len=0;
		}else {
			// фиксированная длина данных - 8 байт
			packet.length = 8;
			for(i=0;i<8;i++) packet.data[i] = ptr[(cur_pckt-1)*8+i];
			// пакеты транслируются в оба кан1 и кан2
			add_tx_can_packet(&can1_tx_stack,&packet);
			add_tx_can_packet(&can2_tx_stack,&packet);
			cur_pckt++;
			len-=8;
		}
	}
}

// отправка закодированных аудиопакетов в кан сеть

static void can_work() {
	// если сформирован буфер закодированных опусом данных
	if(encoded_micr_ready_buf_num) {
		if(encoded_length>0) {
			// если нажаты кнопка трансляции звука или вызова
			if(button1 || button2)
			{
				// отправка аудиоданных в сеть
				// проверка допустимых значений encoded_micr_ready_buf_num
				if(encoded_micr_ready_buf_num==1 || encoded_micr_ready_buf_num==2) {
					send_full_frame(encoded_length,(unsigned char*)&microphone_encoded_data[encoded_micr_ready_buf_num-1]);
				}

			}
			encoded_length = 0;
		}
		encoded_micr_ready_buf_num=0;
	}
}

// преобразование кан пакетов в звуковые

static void decode_work() {
	// буфер для хранения закодированного пакета при чтении из стека
	static volatile uint8_t can_buf[CAN_BUF_SIZE];
	int res = 0;	// результат декодирования пакета опусом
	uint16_t i = 0;
	unsigned short can_length = 0;	// длина пакета, считанного из стека

	// на время трансляции звука в сеть входящие пакеты из стека не анализируются
	if(button1) return;

	// прочитать пакет из стека входящих кан пакетов
	can_length = get_can_frame((uint8_t*)can_buf);

	// если выполняется проверка связки микрофон - динамики необходимо выводить в динамик 2.5 кГц
	if((test_2_5_kHz_state==1) || (test_2_5_kHz_state==2)) {
		for(i=0;i<FRAME_SIZE;i++) {
			audio_stream[i] = sin_ex[sin_offset++]+0x8000;
			if(sin_offset>=sizeof(sin_ex)/2) sin_offset = 0;
			add_audio_frame(audio_stream,FRAME_SIZE);
		}
	}else if(button2 || call_flag) {
		// если нажата кнопка вызова или обнаружен входящий пакет с сигналом вызова
		// в динамик посылается сигнал из буфера вызова
		for(i=0;i<FRAME_SIZE;i++) {
			audio_stream[i] = call_ex[call_offset2];
			if(call_flag==0) audio_stream[i]*=0.1; // если нажата кнопка вызова громкость уменьшается в 10 раз
			call_offset2++;
			if(call_offset2>=sizeof(call_ex)/2) call_offset2 = 0;
		}
		add_audio_frame(audio_stream,FRAME_SIZE);
	}else if(can_length && can_length<CAN_BUF_SIZE) {
		// если из стека извлечён входящий кан пакет он декодируется опусом
		res = opus_decode(dec,(unsigned char*)&can_buf[0],can_length,&audio_stream[0],1024,0);
		// результат декодирования отправляется в стек аудиопакетов для трансляции в динамик
		if(res==FRAME_SIZE) add_audio_frame(audio_stream,FRAME_SIZE);
	}
}

// кодирование данных полученных от микрофона

static void encode_work() {
	uint16_t i = 0;
	static int16_t tmp_frame[FRAME_SIZE];
	if(test_2_5_kHz_state) return;

	if(DmaMicrophoneBuffCplt) {

	  if(button1) {
		  for(i=0;i<FRAME_SIZE;i++) {
			  tmp_frame[i]  = SaturaLH((RecBuf[1][i] >>8), -32768, 32767);
		  }
		  encoded_length = opus_encode(enc, (opus_int16*)tmp_frame, FRAME_SIZE,(unsigned char*) &microphone_encoded_data[1][0], 256);
		  if(encoded_length>0) {
			  encoded_micr_ready_buf_num = 2;
		  }

	  }else if(button2) {
		  for(i=0;i<FRAME_SIZE;i++) {
			  tmp_frame[i] = call_ex[call_offset];
			  call_offset++;
			  if(call_offset>=sizeof(call_ex)/2) call_offset = 0;
		  }
		  encoded_length = opus_encode(enc, (opus_int16*)tmp_frame, FRAME_SIZE,(unsigned char*) &microphone_encoded_data[1][0], 256);
		  if(encoded_length>0) {
			  encoded_micr_ready_buf_num = 2;
		  }
	  }

	  DmaMicrophoneBuffCplt = 0;
	}else if(DmaMicrophoneHalfBuffCplt) {

	  if(button1) {
		  for(i=0;i<FRAME_SIZE;i++) {
			  tmp_frame[i]  = SaturaLH((RecBuf[0][i] >>8), -32768, 32767);
		  }
		  encoded_length = opus_encode(enc, (opus_int16*)tmp_frame, FRAME_SIZE,(unsigned char*) &microphone_encoded_data[0][0], 256);
		  if(encoded_length>0) {
			  encoded_micr_ready_buf_num = 1;
		  }
	  }else if(button2) {
		  for(i=0;i<FRAME_SIZE;i++) {
			  tmp_frame[i] = call_ex[call_offset];
			  call_offset++;
			  if(call_offset>=sizeof(call_ex)/2) call_offset = 0;
		  }
		  encoded_length = opus_encode(enc, (opus_int16*)tmp_frame, FRAME_SIZE,(unsigned char*) &microphone_encoded_data[0][0], 256);
		  if(encoded_length>0) {
			  encoded_micr_ready_buf_num = 1;
		  }
	  }

	  DmaMicrophoneHalfBuffCplt = 0;
	}
}

// преобразование звука в сигнал для ЦАП
void convert(uint8_t num) {
	uint16_t i=0;
	if(num>1) return;
	uint16_t cnt = get_audio_frame((int16_t*)&tmp_frame[num][0]);

	if(cnt!=FRAME_SIZE) {
		for(uint16_t i=0;i<FRAME_SIZE;i++) conv[num][i] = 32768;
	}else
	{
		for(i=0;i<FRAME_SIZE;i++) {
			conv[num][i] = ((tmp_frame[num][i]>>gain) + 32768);
		}
	}
}

/* USER CODE END 0 */

int main(void)
{
  /* USER CODE BEGIN 1 */

	uint8_t tmp_alarm = 0;
	uint16_t i = 0;

  /* USER CODE END 1 */

  /* MCU Configuration--------------------------------------------------------*/

  /* Reset of all peripherals, Initializes the Flash interface and the Systick. */
  HAL_Init();

  /* Configure the system clock */
  SystemClock_Config();

  /* USER CODE BEGIN SysInit */

  //HAL_Delay(50);	// задержка на стабилизацию питания
  HAL_FLASH_Unlock();
  __HAL_FLASH_CLEAR_FLAG(FLASH_FLAG_OPTVERR);

  init_eeprom();
  HAL_Delay(50);

  init_eeprom2();
  uint64_t cur_code = read_var();
  if(cur_code!=2) write_var(2);

  uint8_t success_flag = 0;
  uint64_t v2 = read_var2(&success_flag);
  if(success_flag==0) {
	  v2 = 0;
	  write_var2(v2);
  }
  gain = v2 & 0x07;
  if(gain>3) {
	  gain=0;
	  v2&=0xFFFFFFF8;
	  v2|=gain&0x07;
	  write_var2(v2);
  }

//  тест записи flash при каждом включении
//  gain++;
//  if(gain==4) gain=0;
//  v2&=0xFFFFFFF8;
//  v2|=gain&0x07;
//  write_var2(v2);

  /* USER CODE END SysInit */

  /* Initialize all configured peripherals */
  MX_GPIO_Init();
  MX_DMA_Init();
  MX_DAC1_Init();
  MX_TIM6_Init();
  MX_DFSDM1_Init();
  MX_CAN1_Init();
  MX_CAN2_Init();
  MX_USART1_UART_Init();
  MX_ADC1_Init();
  //MX_IWDG_Init();
  MX_RNG_Init();
  /* USER CODE BEGIN 2 */

  init_dinputs(v2);

  LL_DMA_EnableIT_TC(DMA2, LL_DMA_CHANNEL_6);
  LL_DMA_EnableIT_TE(DMA2, LL_DMA_CHANNEL_6);
  LL_USART_EnableIT_RXNE(USART1);

  HAL_GPIO_WritePin(SDZ_GPIO_Port,SDZ_Pin,GPIO_PIN_RESET);

  HAL_ADC_Start_DMA(&hadc1,(uint32_t*) &adc_data,2);
  enc = opus_encoder_create(8000, 1, OPUS_APPLICATION_VOIP, &error);
  //enc = opus_encoder_create(8000, 1, OPUS_APPLICATION_RESTRICTED_LOWDELAY, &error);
  opus_encoder_ctl(enc, OPUS_SET_COMPLEXITY(1));
  //opus_encoder_ctl(enc, OPUS_SET_BITRATE(8000));
  dec = opus_decoder_create(8000,1,&error);

  HAL_TIM_Base_Start(&htim6);	// таймер для периодической отправки данных в цап

  HAL_DFSDM_FilterRegularStart_DMA(&hdfsdm1_filter0, (int32_t*)&RecBuf[0][0], 160*2);

  init_can_frames();
  init_audio_frames();
  initCANFilter();
  HAL_CAN_Start(&hcan1);
  HAL_CAN_Start(&hcan2);
  if (HAL_CAN_ActivateNotification(&hcan1, CAN_IT_RX_FIFO0_MSG_PENDING) != HAL_OK) {
	Error_Handler();
  }
  if (HAL_CAN_ActivateNotification(&hcan2, CAN_IT_RX_FIFO0_MSG_PENDING) != HAL_OK) {
	Error_Handler();
  }

  LL_DMA_ConfigAddresses(DMA1,LL_DMA_CHANNEL_3,(uint32_t)&conv[0],
		  LL_DAC_DMA_GetRegAddr(DAC1, LL_DAC_CHANNEL_1, LL_DAC_DMA_REG_DATA_12BITS_LEFT_ALIGNED),
		  LL_DMA_DIRECTION_MEMORY_TO_PERIPH);
  LL_DMA_SetDataLength(DMA1, LL_DMA_CHANNEL_3, FRAME_SIZE*2);
  LL_DMA_EnableIT_TE(DMA1, LL_DMA_CHANNEL_3);
  LL_DMA_EnableIT_HT(DMA1, LL_DMA_CHANNEL_3);
  LL_DMA_EnableIT_TC(DMA1, LL_DMA_CHANNEL_3);

  LL_DAC_EnableIT_DMAUDR1(DAC1);
  LL_DAC_EnableDMAReq(DAC1, LL_DAC_CHANNEL_1);
  LL_DMA_EnableChannel(DMA1, LL_DMA_CHANNEL_3);
  LL_DAC_Enable(DAC1, LL_DAC_CHANNEL_1);
  LL_DAC_EnableTrigger(DAC1, LL_DAC_CHANNEL_1);
  //HAL_DAC_Start_DMA(&hdac1, DAC_CHANNEL_1,(uint32_t*)conv,FRAME_SIZE*2,DAC_ALIGN_12B_L);

  init_can_tx_stack(&can1_tx_stack);
  init_can_tx_stack(&can2_tx_stack);
  init_can_tx_stack(&can1_tx_stack_pr);
  init_can_tx_stack(&can2_tx_stack_pr);

  /* USER CODE END 2 */

  /* Infinite loop */
  /* USER CODE BEGIN WHILE */

  arm_rfft_fast_init_f32(&S, FFT_SIZE);

  DmaMicrophoneBuffCplt=0;
  while(DmaMicrophoneBuffCplt==0);

  send_point_state(1);

  //MX_IWDG_Init();

  while (1)
  {
	  tmp_alarm = 0;
	  if(di1.en_flag) {
		  if(di1.state==SHORT_CIRC || di1.state==LINE_BREAK || di1.state==OFF) tmp_alarm=1;
	  }
	  if(di2.en_flag) {
		  if(di2.state==SHORT_CIRC || di2.state==LINE_BREAK || di2.state==OFF) tmp_alarm=1;
	  }
	  alarm_flag = tmp_alarm;
	  //if((discrete_state & (1<<9)) || (discrete_state & (1<<10)) || ((discrete_state & (1<<8))==0)) alarm_flag=1;
	  //else alarm_flag=0;
	  // проверка микрофона динамиков по запросу
	  if(check_cmd && (test_2_5_kHz_state==0)) {
		  test_2_5_kHz_state = 1;
		  test_2_5_kHz_tmr = 0;
		  test_2_5_kHz_res = 0;
		  test_2_5_kHz_check_enable = 1;
	  }

	  if(test_2_5_kHz_state==1) {
		  // определение фонового уровня
		  if(test_2_5_kHz_check_enable) {
			  for(i=0;i<FFT_SIZE;i++) in_fft[i] = RecBuf[0][i];
			  arm_rfft_fast_f32(&S, in_fft,out_fft,0);
			  arm_cmplx_mag_f32(out_fft,out_fft, FFT_SIZE/2);
			  base_2_5_kHz_level = out_fft[40];
		  }
		  test_2_5_kHz_state = 2;
	  }
	  if((test_2_5_kHz_state==2) && (test_2_5_kHz_tmr>=1000)) {
		  // определение уровня при генерации динамиками частоты
		  if(test_2_5_kHz_check_enable) {
			  for(i=0;i<FFT_SIZE;i++) in_fft[i] = RecBuf[01][i];
			  arm_rfft_fast_f32(&S, in_fft,out_fft,0);
			  arm_cmplx_mag_f32(out_fft,out_fft, FFT_SIZE/2);
			  test_2_5_kHz_level = out_fft[40];
			  if(test_2_5_kHz_level/base_2_5_kHz_level>=32) test_2_5_kHz_res = 1;
			  else test_2_5_kHz_res = 0;
			  test_2_5_kHz_check_enable = 0;
			  if(check_cmd) {	// был запрос на сканирование от шлюза
				  if(test_2_5_kHz_res) {
					  discrete_state |= 0x0001;
				  }else {
					  discrete_state &= ~(0x0001);
				  }
				  check_cmd = 0;
				  discrete_state |= 0x0002;	// была выполнена проверка
				  send_point_state(1);
			  }
		  }

		  test_2_5_kHz_state = 3;
	  }
	  if((test_2_5_kHz_state==3) && (test_2_5_kHz_tmr>=2000)) test_2_5_kHz_state = 0;

	  if(DmaDacBuffCplt==1) {convert(1);DmaDacBuffCplt=2;}
	  if(DmaDacHalfBuffCplt==1) {convert(0);DmaDacHalfBuffCplt=2;}
	  if(DmaDacBuffCplt==2) {
		  //HAL_GPIO_WritePin(LED_GPIO_Port,LED_Pin,GPIO_PIN_SET);
		  decode_work();
		  //HAL_GPIO_WritePin(LED_GPIO_Port,LED_Pin,GPIO_PIN_RESET);
		  DmaDacBuffCplt = 0;
	  }else if(DmaDacHalfBuffCplt==2) {
		  //HAL_GPIO_WritePin(LED_GPIO_Port,LED_Pin,GPIO_PIN_SET);
		  decode_work();
		 // HAL_GPIO_WritePin(LED_GPIO_Port,LED_Pin,GPIO_PIN_RESET);
		  DmaDacHalfBuffCplt=0;
	  }
	  //HAL_Delay(1);
	  //HAL_GPIO_TogglePin(LED_GPIO_Port,LED_Pin);

	  encode_work();
	  can_work();
	  uart1_scan();
	  if(packet_tmr>=500) {
		  can_caught_id = 0;
		  if(button2 || test_2_5_kHz_state || call_flag) HAL_GPIO_WritePin(SDZ_GPIO_Port,SDZ_Pin,GPIO_PIN_SET);
		  else HAL_GPIO_WritePin(SDZ_GPIO_Port,SDZ_Pin,GPIO_PIN_RESET);
	  }else
		  HAL_GPIO_WritePin(SDZ_GPIO_Port,SDZ_Pin,GPIO_PIN_SET);

	  if(adc_tmr>=100) {
		  adc_tmr = 0;
		  sum_adc[0]+=adc_data[0];
		  sum_adc[1]+=adc_data[1];
		  adc_filter_tmr++;
		  if(adc_filter_tmr>=32) {
			  adc_filter_tmr=0;
			  pow_data[0] = (double)sum_adc[1]*33*2.65/32/4096*1.01+0.5;	// аккумулятор
			  pow_data[1] = (double)sum_adc[0]*33*4.3/32/4096+8+0.5;		// питание
			  if((pow_data[1]<70)&&(pow_data[0]<70)) NVIC_SystemReset();
			  sum_adc[0]=0;
			  sum_adc[1]=0;
		  }
	  }

	  if(button2) {
		  point_tmr = 0;
		  point_flag = 0;
	  }else {
		  if(call_flag==0) {
			  call_offset = 0;
			  call_offset2 = 0;
		  }
	  }
	  if(led_cnt<10) HAL_GPIO_WritePin(LED_GPIO_Port,LED_Pin,GPIO_PIN_SET);
	  else HAL_GPIO_WritePin(LED_GPIO_Port,LED_Pin,GPIO_PIN_RESET);

	  //HAL_IWDG_Refresh(&hiwdg);
	  // спящий режим
	  HAL_PWR_EnterSLEEPMode(PWR_MAINREGULATOR_ON, PWR_STOPENTRY_WFI); // PWR_LOWPOWERREGULATOR_ON  PWR_MAINREGULATOR_ON
	  //HAL_IWDG_Refresh(&hiwdg);

    /* USER CODE END WHILE */

  }
}

void SystemClock_Config(void)
{
  RCC_OscInitTypeDef RCC_OscInitStruct = {0};
  RCC_ClkInitTypeDef RCC_ClkInitStruct = {0};
  RCC_PeriphCLKInitTypeDef PeriphClkInit = {0};

  /** Initializes the CPU, AHB and APB busses clocks
  */
  RCC_OscInitStruct.OscillatorType = RCC_OSCILLATORTYPE_LSI|RCC_OSCILLATORTYPE_HSE
                              |RCC_OSCILLATORTYPE_LSE|RCC_OSCILLATORTYPE_MSI;
  RCC_OscInitStruct.HSEState = RCC_HSE_ON;
  RCC_OscInitStruct.LSEState = RCC_LSE_OFF;
  RCC_OscInitStruct.LSIState = RCC_LSI_ON;
  RCC_OscInitStruct.MSIState = RCC_MSI_ON;
  RCC_OscInitStruct.MSICalibrationValue = 0;
  RCC_OscInitStruct.MSIClockRange = RCC_MSIRANGE_6;
  RCC_OscInitStruct.PLL.PLLState = RCC_PLL_ON;
  RCC_OscInitStruct.PLL.PLLSource = RCC_PLLSOURCE_HSE;
  RCC_OscInitStruct.PLL.PLLM = 2;
  RCC_OscInitStruct.PLL.PLLN = 80;
  RCC_OscInitStruct.PLL.PLLP = RCC_PLLP_DIV7;
  RCC_OscInitStruct.PLL.PLLQ = RCC_PLLQ_DIV2;
  RCC_OscInitStruct.PLL.PLLR = RCC_PLLR_DIV4;
  if (HAL_RCC_OscConfig(&RCC_OscInitStruct) != HAL_OK)
  {
    Error_Handler();
  }
  /** Initializes the CPU, AHB and APB busses clocks
  */
  RCC_ClkInitStruct.ClockType = RCC_CLOCKTYPE_HCLK|RCC_CLOCKTYPE_SYSCLK
                              |RCC_CLOCKTYPE_PCLK1|RCC_CLOCKTYPE_PCLK2;
  RCC_ClkInitStruct.SYSCLKSource = RCC_SYSCLKSOURCE_PLLCLK;
  RCC_ClkInitStruct.AHBCLKDivider = RCC_SYSCLK_DIV1;
  RCC_ClkInitStruct.APB1CLKDivider = RCC_HCLK_DIV1;
  RCC_ClkInitStruct.APB2CLKDivider = RCC_HCLK_DIV1;

  if (HAL_RCC_ClockConfig(&RCC_ClkInitStruct, FLASH_LATENCY_4) != HAL_OK)
  {
    Error_Handler();
  }
  PeriphClkInit.PeriphClockSelection = RCC_PERIPHCLK_USART1|RCC_PERIPHCLK_SAI1
                              |RCC_PERIPHCLK_DFSDM1|RCC_PERIPHCLK_RNG
                              |RCC_PERIPHCLK_ADC;
  PeriphClkInit.Usart1ClockSelection = RCC_USART1CLKSOURCE_PCLK2;
  PeriphClkInit.Sai1ClockSelection = RCC_SAI1CLKSOURCE_PLLSAI1;
  PeriphClkInit.AdcClockSelection = RCC_ADCCLKSOURCE_PLLSAI1;
  PeriphClkInit.Dfsdm1ClockSelection = RCC_DFSDM1CLKSOURCE_PCLK;
  PeriphClkInit.RngClockSelection = RCC_RNGCLKSOURCE_MSI;
  PeriphClkInit.PLLSAI1.PLLSAI1Source = RCC_PLLSOURCE_HSE;
  PeriphClkInit.PLLSAI1.PLLSAI1M = 2;
  PeriphClkInit.PLLSAI1.PLLSAI1N = 43;
  PeriphClkInit.PLLSAI1.PLLSAI1P = RCC_PLLP_DIV7;
  PeriphClkInit.PLLSAI1.PLLSAI1Q = RCC_PLLQ_DIV2;
  PeriphClkInit.PLLSAI1.PLLSAI1R = RCC_PLLR_DIV8;
  PeriphClkInit.PLLSAI1.PLLSAI1ClockOut = RCC_PLLSAI1_SAI1CLK|RCC_PLLSAI1_ADC1CLK;
  if (HAL_RCCEx_PeriphCLKConfig(&PeriphClkInit) != HAL_OK)
  {
    Error_Handler();
  }
  /** Configure the main internal regulator output voltage
  */
  if (HAL_PWREx_ControlVoltageScaling(PWR_REGULATOR_VOLTAGE_SCALE1) != HAL_OK)
  {
    Error_Handler();
  }
  /** Enable MSI Auto calibration
  */
  HAL_RCCEx_EnableMSIPLLMode();
}

/* USER CODE BEGIN 4 */

void HAL_CAN_RxFifo0MsgPendingCallback(CAN_HandleTypeDef *hcan)
{
	if(hcan==&hcan1) check_can_rx(1);
	else check_can_rx(2);
}

void HAL_DFSDM_FilterRegConvHalfCpltCallback(DFSDM_Filter_HandleTypeDef *hdfsdm_filter)
{
	DmaMicrophoneHalfBuffCplt = 1;
}

void HAL_DFSDM_FilterRegConvCpltCallback(DFSDM_Filter_HandleTypeDef *hdfsdm_filter)
{
	DmaMicrophoneBuffCplt = 1;
}

/* USER CODE END 4 */

void Error_Handler(void)
{
}

/************************ (C) COPYRIGHT STMicroelectronics *****END OF FILE****/
